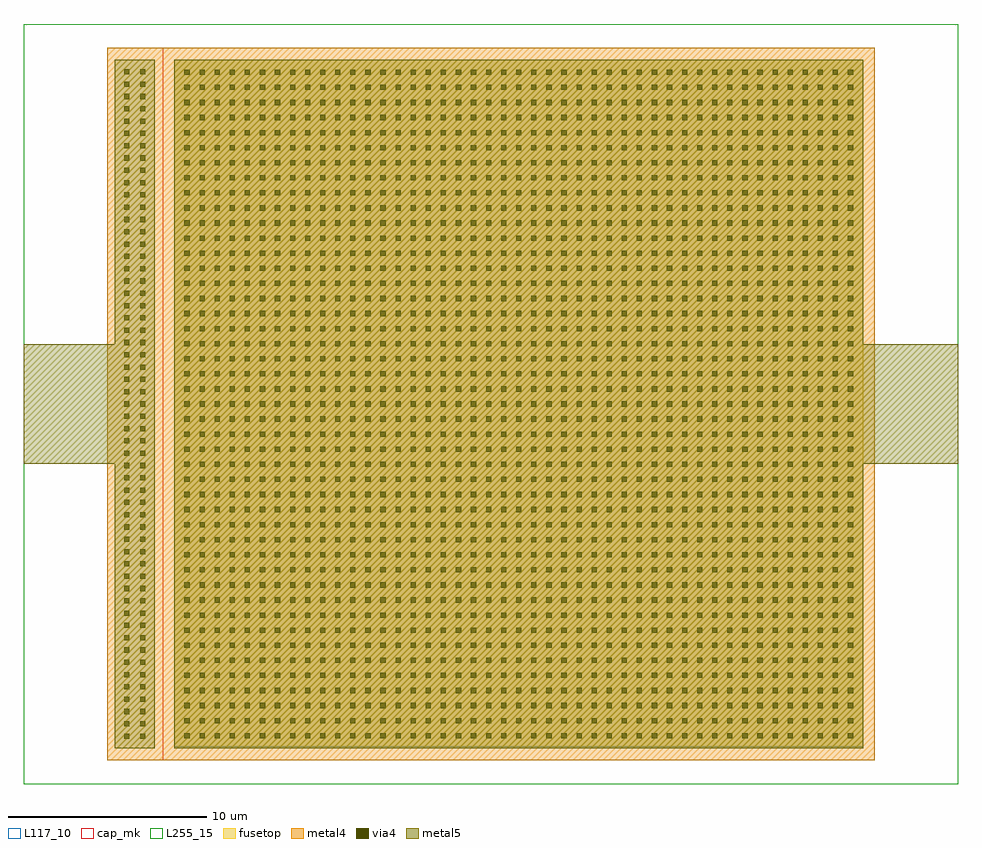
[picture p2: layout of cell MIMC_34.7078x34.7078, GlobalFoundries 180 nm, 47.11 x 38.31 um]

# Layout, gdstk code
import gdstk
lib = gdstk.Library(unit=1e-6, precision=1e-09)
def R(c, l, rs):  # rectangles x0, y0, x1, y1
    for r in rs: c.add(gdstk.rectangle(r[:2], r[2:], *l))
def A(c, l, x, y, w, h, nx, ny, dx, dy):  # array of equal rectangles
    R(c, l, [(x+i*dx, y+j*dy, x+i*dx+w, y+j*dy+h) for i in range(nx) for j in range(ny)])
via4 = (41, 0)
metal4 = (46, 0)
fusetop = (75, 0)
metal5 = (81, 0)
cap_mk = (117, 5)
L117_10 = (117, 10)
L255_15 = (255, 15)

mimc_34_7078x34_7078 = lib.new_cell('MIMC_34.7078x34.7078')
A(mimc_34_7078x34_7078, via4, -2.53, 0.484, 0.26, 0.26, 1, 55, 0, 0.62)
A(mimc_34_7078x34_7078, via4, -1.73, 0.484, 0.26, 0.26, 1, 55, 0, 0.62)
A(mimc_34_7078x34_7078, via4, 0.504, 0.504, 0.26, 0.26, 45, 45, 0.76, 0.76)
R(mimc_34_7078x34_7078, metal4, [(-3.4,-0.6,0,35.308), (-0.6,-0.6,35.308,35.308)])
R(mimc_34_7078x34_7078, fusetop, [(0,0,34.708,34.708)])
R(mimc_34_7078x34_7078, metal5, [(-3,0,-1,34.708), (0,0,34.708,34.708), (-7.6,14.354,-3,20.354), (33.708,14.354,39.508,20.354)])
R(mimc_34_7078x34_7078, cap_mk, [(-0.6,-0.6,35.308,35.308)])
R(mimc_34_7078x34_7078, L117_10, [(0,0,34.708,0.1)])
R(mimc_34_7078x34_7078, L255_15, [(-7.6,-1.8,39.508,36.508)])

lib.write_gds('MIMC_34.7078x34.7078.gds')
